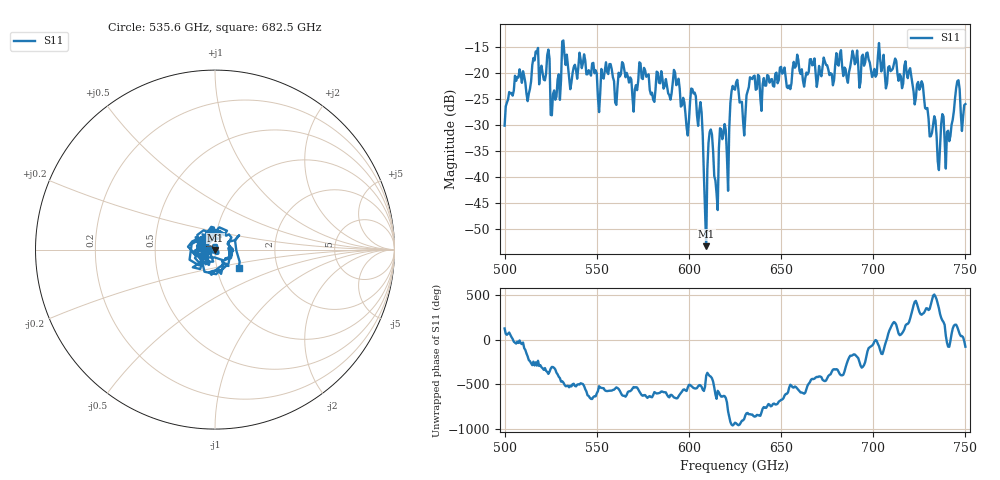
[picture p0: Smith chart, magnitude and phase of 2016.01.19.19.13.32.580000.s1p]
!Created with skrf (http://scikit-rf.org).
# GHz S RI R 50.0
!freq ReS11 ImS11
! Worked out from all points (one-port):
!   401 points, 500 GHz to 750 GHz, reference 50 ohm
!   lowest |S11| = -53.2 dB at 609.4 GHz (marker M1), VSWR 1.00, Z = 50.2 - j0.143 ohm
!   |S11| at or under -10 dB: start of sweep to end of sweep
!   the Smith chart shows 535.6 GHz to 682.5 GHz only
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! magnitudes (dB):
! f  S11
! 500 GHz  -30.0
! 506.9 GHz  -20.7
! 513.1 GHz  -23.9
! 516.9 GHz  -15.8
! 523.1 GHz  -16.5
! 526.2 GHz  -24.0
! 531.2 GHz  -13.8
! 550.6 GHz  -24.6
! 562.5 GHz  -20.6
! 593.8 GHz  -22.0
! 598.8 GHz  -30.4
! 602.5 GHz  -23.9
! 606.2 GHz  -25.5
! 609.4 GHz  -53.2
! 611.2 GHz  -31.3
! 615 GHz  -43.1
! 617.5 GHz  -30.8
! 620.6 GHz  -35.9
! 625 GHz  -23.1
! 629.4 GHz  -29.1
! 634.4 GHz  -21.1
! 656.2 GHz  -19.1
! 687.5 GHz  -18.7
! 718.8 GHz  -20.9
! 735 GHz  -36.9
! 740.6 GHz  -31.0
! 745.6 GHz  -21.5
! 750 GHz  -25.9
